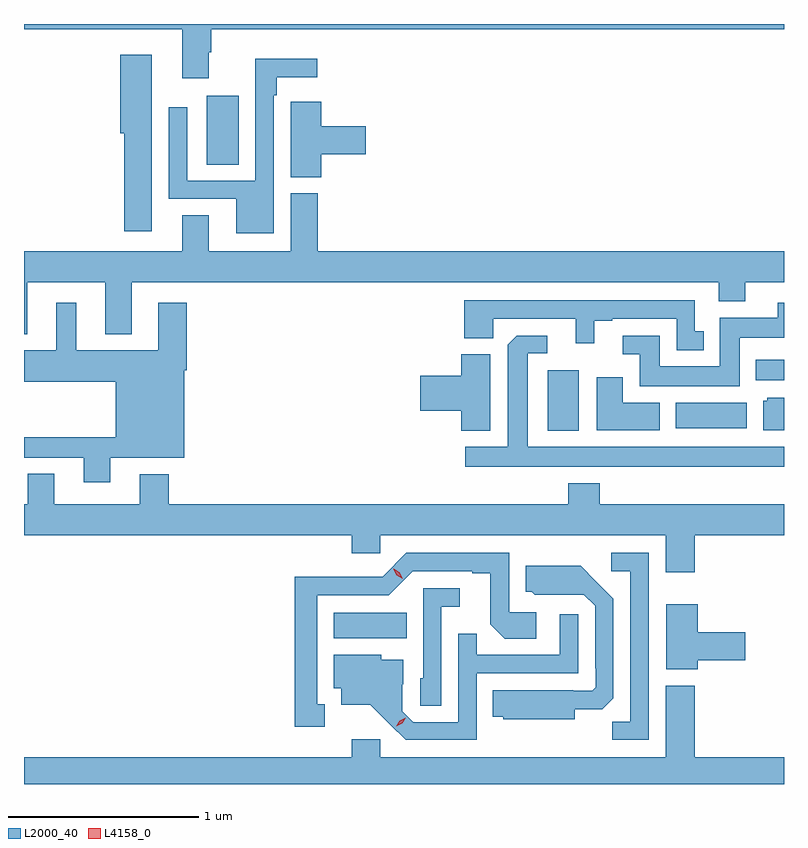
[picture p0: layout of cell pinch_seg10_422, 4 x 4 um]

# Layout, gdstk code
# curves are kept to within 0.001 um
import gdstk
lib = gdstk.Library(unit=1e-6, precision=1e-09)
def R(c, l, rs):  # rectangles x0, y0, x1, y1
    for r in rs: c.add(gdstk.rectangle(r[:2], r[2:], *l))
def P(c, l, *ps):  # polygons
    for p in ps: c.add(gdstk.Polygon(p, *l))
L2000_40 = (2000, 40)
L4158_0 = (4158, 0)

pinch_seg10_422 = lib.new_cell('pinch_seg10_422')
R(pinch_seg10_422, L2000_40, [(352.712,1293.116,353.096,1293.25), (353.837,1294.208,354.001,1294.525), (354.512,1294.22,354.886,1294.354), (354.932,1294.472,355.081,1294.582), (352.043,1295.608,352.21,1295.971)])
P(pinch_seg10_422, L2000_40, [(355.081,1296.348),(351.081,1296.348),(351.081,1296.32),(351.914,1296.32),(351.914,1296.063),(352.054,1296.063),(352.054,1296.2),(352.067,1296.2),(352.067,1296.32),(355.081,1296.32)],
  [(351.754,1296.187),(351.587,1296.187),(351.587,1295.772),(351.608,1295.772),(351.608,1295.256),(351.754,1295.256)],
  [(352.395,1295.972),(352.411,1295.972),(352.411,1296.068),(352.624,1296.068),(352.624,1296.166),(352.299,1296.166),(352.299,1295.523),(351.939,1295.523),(351.939,1295.911),(351.843,1295.911),(351.843,1295.427),(352.199,1295.427),(352.199,1295.246),(352.395,1295.246)],
  [(352.646,1295.663),(352.879,1295.663),(352.879,1295.81),(352.646,1295.81),(352.646,1295.938),(352.485,1295.938),(352.485,1295.825),(352.484,1295.825),(352.484,1295.542),(352.646,1295.542)],
  [(351.097,1294.988),(351.509,1294.988),(351.509,1294.715),(351.649,1294.715),(351.649,1294.988),(354.737,1294.988),(354.737,1294.889),(354.877,1294.889),(354.877,1294.988),(355.081,1294.988),(355.081,1295.152),(352.628,1295.152),(352.628,1295.457),(352.484,1295.457),(352.484,1295.152),(352.054,1295.152),(352.054,1295.342),(351.914,1295.342),(351.914,1295.152),(351.081,1295.152),(351.081,1294.715),(351.097,1294.715)],
  [(354.658,1294.731),(354.612,1294.731),(354.612,1294.893),(353.399,1294.893),(353.399,1294.694),(353.55,1294.694),(353.55,1294.797),(353.984,1294.797),(353.984,1294.668),(354.082,1294.668),(354.082,1294.785),(354.178,1294.785),(354.178,1294.797),(354.516,1294.797),(354.516,1294.631),(354.658,1294.631)],
  [(354.847,1294.697),(355.081,1294.697),(355.081,1294.882),(355.049,1294.882),(355.049,1294.801),(354.743,1294.801),(354.743,1294.546),(354.427,1294.546),(354.427,1294.707),(354.231,1294.707),(354.231,1294.611),(354.323,1294.611),(354.323,1294.442),(354.847,1294.442)],
  [(351.535,1294.064),(351.925,1294.064),(351.925,1294.526),(351.938,1294.526),(351.938,1294.882),(351.788,1294.882),(351.788,1294.63),(351.355,1294.63),(351.355,1294.882),(351.251,1294.882),(351.251,1294.63),(351.081,1294.63),(351.081,1294.466),(351.563,1294.466),(351.563,1294.174),(351.081,1294.174),(351.081,1294.065),(351.395,1294.065),(351.395,1293.936),(351.535,1293.936)],
  [(355.081,1294.123),(353.731,1294.123),(353.731,1294.614),(353.836,1294.614),(353.836,1294.707),(353.674,1294.707),(353.628,1294.661),(353.627,1294.123),(353.403,1294.123),(353.403,1294.019),(355.081,1294.019)],
  [(353.536,1294.609),(353.381,1294.609),(353.381,1294.496),(353.166,1294.496),(353.166,1294.313),(353.381,1294.313),(353.381,1294.208),(353.536,1294.208)],
  [(354.427,1294.354),(354.232,1294.354),(354.232,1294.489),(354.095,1294.489),(354.095,1294.211),(354.427,1294.211)],
  [(355.081,1294.381),(354.993,1294.381),(354.993,1294.365),(354.971,1294.365),(354.971,1294.211),(355.081,1294.211)],
  [(354.611,1293.656),(355.081,1293.656),(355.081,1293.82),(354.11,1293.82),(354.11,1293.931),(353.945,1293.931),(353.945,1293.82),(351.842,1293.82),(351.842,1293.979),(351.689,1293.979),(351.689,1293.82),(351.241,1293.82),(351.241,1293.98),(351.101,1293.98),(351.101,1293.82),(351.081,1293.82),(351.081,1293.656),(352.805,1293.656),(352.805,1293.563),(352.956,1293.563),(352.956,1293.656),(354.458,1293.656),(354.458,1293.462),(354.611,1293.462)],
  [(352.663,1292.769),(352.624,1292.769),(352.624,1293.342),(353.001,1293.342),(353.127,1293.468),(353.441,1293.468),(353.441,1293.456),(353.535,1293.456),(353.535,1293.188),(353.611,1293.112),(353.776,1293.112),(353.776,1293.252),(353.634,1293.252),(353.634,1293.564),(353.094,1293.564),(352.968,1293.438),(352.746,1293.438),(352.746,1293.44),(352.506,1293.44),(352.506,1292.649),(352.663,1292.649)],
  [(354.369,1293.564),(354.171,1293.564),(354.171,1293.468),(354.273,1293.468),(354.273,1292.675),(354.178,1292.675),(354.178,1292.58),(354.369,1292.58)],
  [(353.98,1292.741),(354.124,1292.741),(354.183,1292.8),(354.183,1293.322),(354.011,1293.496),(353.723,1293.496),(353.723,1293.36),(353.754,1293.36),(353.77,1293.344),(354.027,1293.345),(354.087,1293.285),(354.087,1292.956),(354.09,1292.956),(354.09,1292.856),(354.072,1292.838),(353.972,1292.838),(353.972,1292.842),(353.548,1292.842),(353.548,1292.702),(353.604,1292.702),(353.604,1292.69),(353.98,1292.69)],
  [(353.277,1293.281),(353.374,1293.281),(353.374,1293.378),(353.181,1293.378),(353.181,1292.904),(353.166,1292.904),(353.166,1292.761),(353.277,1292.761)],
  [(354.628,1292.999),(354.877,1292.999),(354.877,1293.146),(354.628,1293.146),(354.628,1293.295),(354.461,1293.295),(354.461,1292.951),(354.628,1292.951)],
  [(353.463,1292.931),(353.997,1292.931),(353.997,1293.241),(353.901,1293.241),(353.901,1293.027),(353.465,1293.027),(353.465,1293.14),(353.367,1293.14),(353.367,1292.673),(353.13,1292.673),(353.073,1292.73),(353.073,1292.872),(353.077,1292.872),(353.077,1293.001),(352.962,1293.001),(352.962,1293.028),(352.712,1293.028),(352.712,1292.852),(352.751,1292.852),(352.751,1292.765),(352.903,1292.765),(353.09,1292.58),(353.463,1292.58)],
  [(355.081,1292.488),(354.611,1292.488),(354.611,1292.866),(354.458,1292.866),(354.458,1292.488),(352.956,1292.488),(352.956,1292.584),(352.805,1292.584),(352.805,1292.488),(351.081,1292.488),(351.081,1292.348),(355.081,1292.348)])
P(pinch_seg10_422, L4158_0, [(353.041,1292.652),(353.041,1292.653),(353.058,1292.682),(353.089,1292.698),(353.089,1292.698),(353.089,1292.697),(353.072,1292.668),(353.041,1292.652)],
  [(353.074,1293.429),(353.043,1293.448),(353.025,1293.481),(353.025,1293.481),(353.026,1293.481),(353.057,1293.462),(353.075,1293.429),(353.075,1293.429)])

lib.write_gds('pinch_seg10_422.gds')
